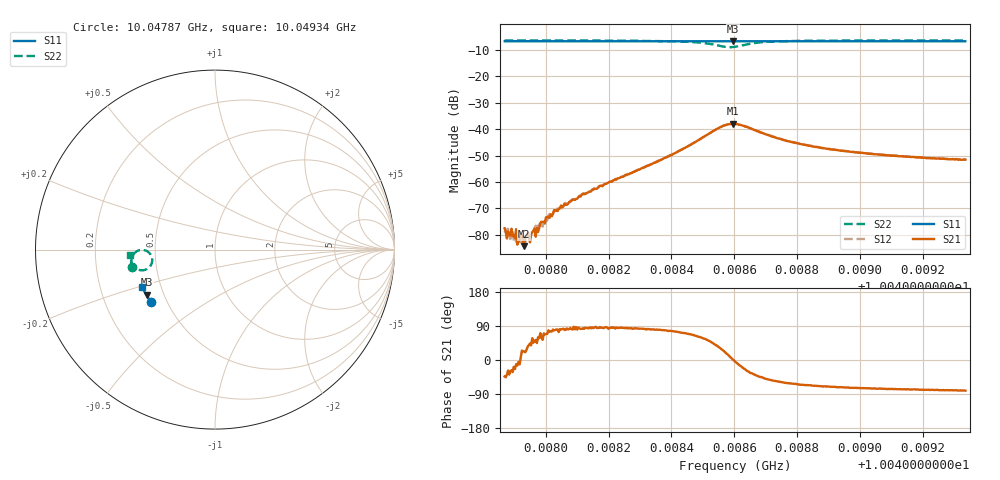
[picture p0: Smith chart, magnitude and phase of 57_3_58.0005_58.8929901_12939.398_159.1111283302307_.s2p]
#  HZ  S  RI  R  50.00
! Rohde & Schwarz Vector Network Analyzer
! Rohde-Schwarz,ZNB20-2Port,1311601062101988,3.16
! Created: UTC 3/21/2024, 12:52:50 AM
! freq[Hz]  re:S11  im:S11  re:S21  im:S21  re:S12  im:S12  re:S22  im:S22
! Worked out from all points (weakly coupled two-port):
!   401 points, 10.04787 GHz to 10.04934 GHz, reference 50 ohm
!   highest |S21| = -37.98 dB at 10.04859 GHz (marker M1); lowest = -84.3 dB at 10.04793 GHz (marker M2)
!   lowest |S11| = -6.8 dB at 10.04859 GHz (marker M3), VSWR 2.68, Z = 20.1 - j12.8 ohm
!   |S11| at or under -10 dB: nowhere
!   |S22| runs from -9.0 to -6.5 dB; largest |S21 - S12| = 0.001
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1.0047869e10  -0.355 -0.292  9.67e-05 -9.13e-05  7.21e-05 -8.4e-05  -0.4647 -0.0977
1.004788e10  -0.3553 -0.2915  0.000103 -5.4e-05  0.00011 -7.05e-05  -0.4647 -0.0968
1.0047898e10  -0.3562 -0.2904  9.33e-05 -3.02e-05  7.75e-05 3.32e-06  -0.465 -0.0954
1.0047906e10  -0.3565 -0.29  0.000125 -2.45e-05  6.77e-05 -2.9e-05  -0.4652 -0.0948
1.0047931e10  -0.3576 -0.2886  5.66e-05 2.31e-05  6.52e-05 4.73e-05  -0.4653 -0.0926
1.004795e10  -0.3583 -0.2877  5.23e-05 4.97e-05  8.07e-05 7.03e-05  -0.4654 -0.0911
1.0047972e10  -0.3591 -0.2866  9.58e-05 9.46e-05  5.73e-05 0.000132  -0.4658 -0.0892
1.004799e10  -0.3599 -0.2856  0.000105 0.000139  5.51e-05 0.000132  -0.4661 -0.0876
1.0048008e10  -0.3606 -0.2844  4.44e-05 0.000215  5.43e-05 0.000227  -0.4661 -0.0858
1.0048034e10  -0.3617 -0.2831  4.76e-05 0.000291  4.88e-05 0.000285  -0.4663 -0.0834
1.0048115e10  -0.3648 -0.2788  7.85e-05 0.000572  1.39e-05 0.000575  -0.4668 -0.0757
1.004836e10  -0.3742 -0.2652  0.000429 0.0025  0.000307 0.00252  -0.4623 -0.0417
1.0048441e10  -0.377 -0.2605  0.00141 0.0041  0.00118 0.00423  -0.451 -0.022
1.0048529e10  -0.3796 -0.2553  0.00617 0.00641  0.00575 0.00676  -0.4023 -0.00168
1.0048565e10  -0.3806 -0.2534  0.0106 0.00483  0.0102 0.00537  -0.3629 -0.0219
1.0048595e10  -0.3811 -0.252  0.0126 0.000319  0.0126 0.00131  -0.3499 -0.0645
1.0048602e10  -0.3815 -0.2517  0.0125 -0.00084  0.0126 4.21e-05  -0.3522 -0.0759
1.0048694e10  -0.3853 -0.2474  0.00554 -0.00613  0.00592 -0.00581  -0.4278 -0.1118
1.0048763e10  -0.3879 -0.2434  0.00301 -0.00524  0.00338 -0.00514  -0.4514 -0.0955
1.0048848e10  -0.3908 -0.2384  0.00179 -0.00435  0.00211 -0.00429  -0.4624 -0.0792
1.0049093e10  -0.3988 -0.2241  0.000724 -0.0031  0.000948 -0.00306  -0.4715 -0.0488
1.0049335e10  -0.4061 -0.21  0.00042 -0.00261  0.000572 -0.00259  -0.4738 -0.0277
